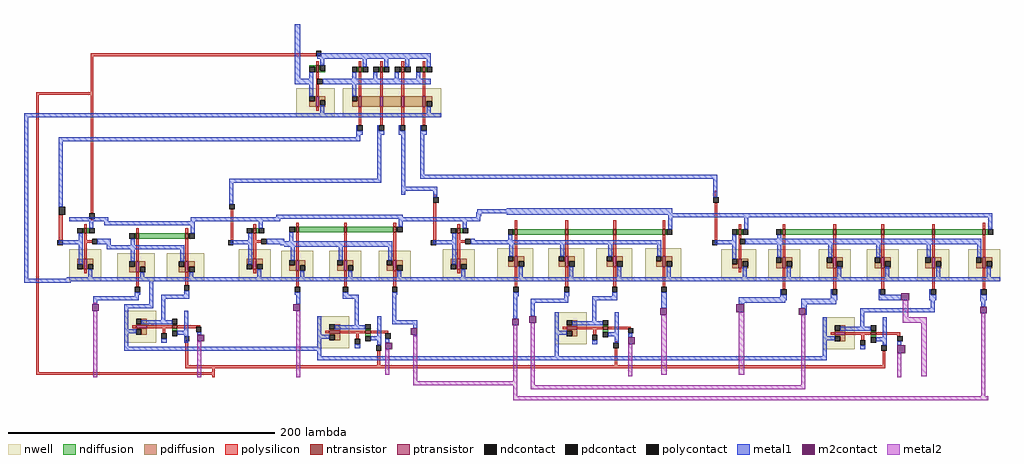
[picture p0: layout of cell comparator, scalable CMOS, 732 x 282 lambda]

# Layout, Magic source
magic
tech scmos
<< nwell >>
rect -181 -77 -157 -53
rect -3 -74 21 -50
rect 198 -78 222 -54
<< ntransistor >>
rect 33 -63 37 -61
rect -145 -66 -141 -64
rect 234 -67 238 -65
<< ptransistor >>
rect 6 -63 14 -61
rect -172 -66 -164 -64
rect 207 -67 215 -65
<< ndiffusion >>
rect 33 -61 37 -60
rect -145 -64 -141 -63
rect -145 -68 -141 -66
rect 33 -65 37 -63
rect 234 -65 238 -64
rect 234 -69 238 -67
<< pdiffusion >>
rect -168 -63 -164 -59
rect -172 -64 -164 -63
rect 10 -60 14 -56
rect 6 -61 14 -60
rect 6 -64 14 -63
rect -172 -67 -164 -66
rect -168 -71 -164 -67
rect 10 -68 14 -64
rect 211 -64 215 -60
rect 207 -65 215 -64
rect 207 -68 215 -67
rect 211 -72 215 -68
<< ndcontact >>
rect -145 -63 -141 -59
rect 33 -60 37 -56
rect -145 -72 -141 -68
rect 33 -69 37 -65
rect 234 -64 238 -60
rect 234 -73 238 -69
<< pdcontact >>
rect -172 -63 -168 -59
rect 6 -60 10 -56
rect -172 -71 -168 -67
rect 6 -68 10 -64
rect 207 -64 211 -60
rect 207 -72 211 -68
<< polysilicon >>
rect -351 142 -182 144
rect -351 115 -349 142
rect -392 113 -349 115
rect -392 -95 -390 113
rect -351 24 -349 113
rect -94 36 -92 38
rect 117 36 119 41
rect -375 4 -372 23
rect -351 19 -349 20
rect -246 4 -244 27
rect -94 4 -92 32
rect 117 4 119 32
rect -283 -61 -269 -60
rect -283 -62 -272 -61
rect 3 -63 6 -61
rect 14 -63 33 -61
rect 37 -62 54 -61
rect 37 -63 52 -62
rect -175 -66 -172 -64
rect -164 -66 -145 -64
rect -141 -66 -128 -64
rect -152 -70 -150 -66
rect -280 -90 -278 -72
rect 26 -67 28 -63
rect 204 -67 207 -65
rect 215 -67 234 -65
rect 238 -67 256 -65
rect 227 -71 229 -67
rect 42 -73 44 -72
rect -136 -75 -134 -74
rect 254 -68 256 -67
rect -136 -90 -134 -79
rect 42 -90 44 -77
rect 243 -90 245 -79
rect -280 -92 245 -90
rect -260 -95 -258 -92
rect -392 -97 -258 -95
rect -260 -99 -258 -97
<< polycontact >>
rect -182 142 -178 146
rect -375 23 -370 29
rect -94 32 -90 36
rect 116 32 120 36
rect -247 27 -243 31
rect -352 20 -348 24
rect -376 0 -372 4
rect -248 0 -244 4
rect -96 0 -92 4
rect 115 0 119 4
rect -272 -65 -268 -61
rect -281 -72 -277 -68
rect -153 -74 -149 -70
rect -130 -70 -126 -66
rect 25 -71 29 -67
rect 52 -66 56 -62
rect -137 -79 -133 -75
rect 41 -77 45 -73
rect 226 -75 230 -71
rect 254 -72 258 -68
rect 242 -79 246 -75
<< metal1 >>
rect -198 121 -194 166
rect -401 96 -197 99
rect -401 -25 -398 96
rect -152 81 -149 84
rect -375 78 -149 81
rect -375 29 -372 78
rect -136 50 -133 83
rect -247 47 -133 50
rect -247 31 -244 47
rect -118 44 -115 84
rect -104 53 -101 86
rect -104 50 119 53
rect -118 41 -91 44
rect -118 38 -115 41
rect -94 36 -91 41
rect 116 36 119 50
rect 84 21 131 24
rect -276 18 -239 21
rect -119 18 -86 21
rect -369 -25 -367 -24
rect -401 -28 -366 -25
rect -307 -26 -304 -25
rect -309 -27 -304 -26
rect -268 -27 -237 -24
rect -112 -27 -86 -24
rect 90 -27 123 -24
rect -318 -38 -315 -35
rect -349 -41 -315 -38
rect -349 -44 -346 -41
rect -307 -44 -304 -27
rect -326 -47 -304 -44
rect -298 -40 -277 -37
rect -326 -51 -323 -47
rect -298 -52 -295 -40
rect -197 -44 -194 -35
rect -125 -37 -121 -35
rect -162 -40 -150 -37
rect -271 -67 -268 -65
rect -181 -67 -178 -53
rect -153 -60 -150 -40
rect -168 -63 -145 -60
rect -181 -70 -172 -67
rect -326 -76 -323 -73
rect -181 -76 -178 -70
rect -136 -68 -133 -53
rect -125 -56 -122 -37
rect -34 -55 -31 -36
rect 4 -40 7 -36
rect -21 -43 7 -40
rect 25 -41 44 -38
rect -21 -53 -18 -43
rect -125 -59 -106 -56
rect -109 -62 -106 -59
rect -326 -79 -178 -76
rect -141 -71 -133 -68
rect -153 -77 -149 -74
rect -136 -75 -133 -71
rect -109 -68 -106 -67
rect -3 -64 0 -50
rect 25 -57 28 -41
rect 77 -47 81 -37
rect 135 -43 170 -39
rect 135 -44 139 -43
rect 10 -60 33 -57
rect -3 -67 6 -64
rect -130 -73 -127 -70
rect -181 -83 -178 -79
rect -3 -83 0 -67
rect 42 -65 45 -50
rect 182 -44 208 -40
rect 241 -41 257 -37
rect 182 -47 186 -44
rect 279 -47 282 -40
rect 316 -42 320 -38
rect 317 -46 320 -42
rect 185 -52 186 -47
rect 226 -50 282 -47
rect 37 -68 45 -65
rect 25 -74 29 -71
rect 42 -73 45 -68
rect 52 -69 55 -66
rect 198 -68 201 -54
rect 226 -61 229 -50
rect 211 -64 234 -61
rect 198 -71 207 -68
rect 198 -83 201 -71
rect 243 -69 246 -54
rect 238 -72 246 -69
rect 243 -75 246 -72
rect 226 -78 230 -75
rect 254 -75 257 -72
rect -181 -86 201 -83
<< m2contact >>
rect -350 -49 -345 -44
rect -199 -49 -194 -44
rect -271 -72 -266 -67
rect -35 -60 -30 -55
rect -22 -58 -17 -53
rect -111 -67 -106 -62
rect -130 -78 -125 -73
rect 76 -52 81 -47
rect 133 -50 139 -44
rect 257 -41 263 -36
rect 180 -52 185 -47
rect 316 -51 321 -46
rect 52 -74 57 -69
rect 254 -81 260 -75
<< metal2 >>
rect -349 -44 -346 -43
rect -349 -99 -346 -49
rect -271 -99 -268 -72
rect -197 -99 -194 -49
rect -130 -97 -127 -78
rect -109 -102 -106 -67
rect -34 -102 -31 -60
rect -109 -105 -31 -102
rect -34 -113 -31 -105
rect -21 -105 -18 -58
rect 52 -98 55 -74
rect 77 -97 81 -52
rect 135 -97 139 -50
rect 182 -105 185 -52
rect 258 -54 262 -41
rect 258 -58 276 -54
rect 254 -99 257 -81
rect 272 -98 276 -58
rect -21 -108 185 -105
rect 317 -113 320 -51
rect -34 -116 322 -113
use and5  and5_0
transform -1 0 319 0 -1 -17
box -12 -41 202 24
use and4  and4_0
transform -1 0 52 0 -1 -4
box -40 -32 146 34
use and3  and3_0
transform -1 0 -143 0 -1 -12
box -32 -35 103 25
use and2  and2_0
transform -1 0 -302 0 -1 -10
box -36 -31 73 27
use not  not_0
transform 0 -1 -311 1 0 -61
box -12 -33 12 15
use or4  or4_0
transform -1 0 -114 0 -1 124
box -26 -20 83 41
<< end >>

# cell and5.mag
magic
tech scmos
<< nwell >>
rect -12 -14 12 10
rect 26 -14 50 10
rect 64 -14 88 10
rect 100 -14 124 10
rect 138 -14 162 10
rect 171 -14 197 10
<< ntransistor >>
rect -1 -29 1 -25
rect 37 -29 39 -25
rect 75 -29 77 -25
rect 111 -29 113 -25
rect 149 -29 151 -25
rect 182 -29 184 -25
<< ptransistor >>
rect -1 -8 1 0
rect 37 -8 39 0
rect 75 -8 77 0
rect 111 -8 113 0
rect 149 -8 151 0
rect 182 -7 184 0
<< ndiffusion >>
rect -3 -29 -1 -25
rect 1 -29 37 -25
rect 39 -29 75 -25
rect 77 -29 111 -25
rect 113 -29 149 -25
rect 151 -29 152 -25
rect 181 -29 182 -25
rect 184 -29 185 -25
<< pdiffusion >>
rect -6 -1 -1 0
rect -2 -5 -1 -1
rect -6 -8 -1 -5
rect 1 -4 6 0
rect 1 -8 2 -4
rect 32 -1 37 0
rect 36 -5 37 -1
rect 32 -8 37 -5
rect 39 -4 44 0
rect 39 -8 40 -4
rect 70 -1 75 0
rect 74 -5 75 -1
rect 70 -8 75 -5
rect 77 -4 82 0
rect 77 -8 78 -4
rect 106 -1 111 0
rect 110 -5 111 -1
rect 106 -8 111 -5
rect 113 -4 118 0
rect 113 -8 114 -4
rect 144 -1 149 0
rect 148 -5 149 -1
rect 144 -8 149 -5
rect 151 -4 156 0
rect 151 -8 152 -4
rect 177 -1 182 0
rect 181 -5 182 -1
rect 177 -7 182 -5
rect 184 -3 189 0
rect 184 -7 185 -3
<< ndcontact >>
rect -7 -29 -3 -25
rect 152 -29 156 -25
rect 177 -29 181 -25
rect 185 -29 189 -25
<< pdcontact >>
rect -6 -5 -2 -1
rect 2 -8 6 -4
rect 32 -5 36 -1
rect 40 -8 44 -4
rect 70 -5 74 -1
rect 78 -8 82 -4
rect 106 -5 110 -1
rect 114 -8 118 -4
rect 144 -5 148 -1
rect 152 -8 156 -4
rect 177 -5 181 -1
rect 185 -7 189 -3
<< polysilicon >>
rect -1 0 1 16
rect 37 0 39 16
rect 75 0 77 16
rect 111 0 113 16
rect 149 0 151 16
rect 182 0 184 3
rect -1 -25 1 -8
rect 37 -25 39 -8
rect 75 -25 77 -8
rect 111 -25 113 -8
rect 149 -25 151 -8
rect 182 -18 184 -7
rect 183 -22 184 -18
rect 182 -25 184 -22
rect -1 -34 1 -29
rect 37 -33 39 -29
rect 75 -33 77 -29
rect 111 -33 113 -29
rect 149 -33 151 -29
rect 182 -33 184 -29
<< polycontact >>
rect -2 16 2 20
rect 36 16 40 20
rect 74 16 78 20
rect 110 16 114 20
rect 148 16 152 20
rect 179 -22 183 -18
<< metal1 >>
rect -2 20 3 24
rect 2 16 3 20
rect 36 20 41 24
rect 40 16 41 20
rect 74 20 79 24
rect 78 16 79 20
rect 110 20 115 24
rect 114 16 115 20
rect 148 20 153 24
rect 152 16 153 20
rect -12 7 197 10
rect -5 -1 -2 7
rect 33 -1 36 7
rect 71 -1 74 7
rect 107 -1 110 7
rect 145 -1 148 7
rect 178 -1 181 7
rect 2 -18 5 -8
rect 40 -18 43 -8
rect 78 -18 81 -8
rect 114 -18 117 -8
rect 152 -18 155 -8
rect 186 -18 189 -7
rect 2 -22 179 -18
rect 186 -21 202 -18
rect 152 -25 155 -22
rect 186 -25 189 -21
rect -6 -38 -3 -29
rect 177 -38 180 -29
rect -6 -41 189 -38
<< end >>

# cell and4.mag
magic
tech scmos
<< nwell >>
rect -40 -2 -13 23
rect -3 -2 24 23
rect 33 -2 60 23
rect 71 -2 98 23
<< ntransistor >>
rect -28 -16 -26 -12
rect 9 -16 11 -12
rect 45 -16 47 -12
rect 83 -16 85 -12
<< ptransistor >>
rect -28 4 -26 12
rect 9 4 11 12
rect 45 4 47 12
rect 83 4 85 12
<< ndiffusion >>
rect -29 -16 -28 -12
rect -26 -16 9 -12
rect 11 -16 45 -12
rect 47 -16 83 -12
rect 85 -16 86 -12
<< pdiffusion >>
rect -29 8 -28 12
rect -33 4 -28 8
rect -26 8 -21 12
rect -26 4 -25 8
rect 8 8 9 12
rect 4 4 9 8
rect 11 8 16 12
rect 11 4 12 8
rect 44 8 45 12
rect 40 4 45 8
rect 47 8 52 12
rect 47 4 48 8
rect 82 8 83 12
rect 78 4 83 8
rect 85 8 90 12
rect 85 4 86 8
<< ndcontact >>
rect -33 -16 -29 -12
rect 86 -16 90 -12
<< pdcontact >>
rect -33 8 -29 12
rect -25 4 -21 8
rect 4 8 8 12
rect 12 4 16 8
rect 40 8 44 12
rect 48 4 52 8
rect 78 8 82 12
rect 86 4 90 8
<< polysilicon >>
rect -28 12 -26 27
rect 9 12 11 27
rect 45 12 47 27
rect 83 12 85 27
rect -28 -12 -26 4
rect 9 -12 11 4
rect 45 -12 47 4
rect 83 -12 85 4
rect -28 -23 -26 -16
rect 9 -23 11 -16
rect 45 -23 47 -16
rect 83 -23 85 -16
<< polycontact >>
rect -29 27 -25 31
rect 8 27 12 31
rect 44 27 48 31
rect 82 27 86 31
<< metal1 >>
rect -29 31 -25 34
rect 8 31 12 34
rect 44 31 48 34
rect 82 31 86 34
rect -40 20 117 23
rect -32 12 -29 20
rect 5 12 8 20
rect 41 12 44 20
rect 79 12 82 20
rect -25 -5 -22 4
rect 12 -5 15 4
rect 48 -5 51 4
rect 86 -5 89 4
rect -25 -8 116 -5
rect 138 -8 146 -5
rect 87 -12 90 -8
rect -33 -27 -30 -16
rect 111 -25 118 -22
rect 111 -26 114 -25
rect -33 -28 91 -27
rect 110 -28 114 -26
rect -33 -29 114 -28
rect -33 -31 113 -29
rect -33 -32 91 -31
use not  not_0
transform 1 0 127 0 1 8
box -12 -33 12 15
<< end >>

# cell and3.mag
magic
tech scmos
<< nwell >>
rect -32 -8 -8 15
rect 5 -8 29 15
rect 41 -8 65 15
<< ntransistor >>
rect -21 -26 -19 -22
rect 16 -26 18 -22
rect 52 -26 54 -22
<< ptransistor >>
rect -21 -1 -19 7
rect 16 -1 18 7
rect 52 -1 54 7
<< ndiffusion >>
rect -22 -26 -21 -22
rect -19 -26 16 -22
rect 18 -26 52 -22
rect 54 -26 55 -22
<< pdiffusion >>
rect -22 3 -21 7
rect -26 -1 -21 3
rect -19 3 -14 7
rect -19 -1 -18 3
rect 15 3 16 7
rect 11 -1 16 3
rect 18 3 23 7
rect 18 -1 19 3
rect 51 3 52 7
rect 47 -1 52 3
rect 54 3 59 7
rect 54 -1 55 3
<< ndcontact >>
rect -26 -26 -22 -22
rect 55 -26 59 -22
<< pdcontact >>
rect -26 3 -22 7
rect -18 -1 -14 3
rect 11 3 15 7
rect 19 -1 23 3
rect 47 3 51 7
rect 55 -1 59 3
<< polysilicon >>
rect -21 7 -19 19
rect 16 7 18 19
rect 52 7 54 19
rect -21 -22 -19 -1
rect 16 -22 18 -1
rect 52 -22 54 -1
rect -21 -29 -19 -26
rect 16 -29 18 -26
rect 52 -29 54 -26
<< polycontact >>
rect -22 19 -18 23
rect 15 19 19 23
rect 51 19 55 23
<< metal1 >>
rect -22 23 -18 25
rect 15 23 19 25
rect 51 23 55 25
rect -32 12 73 15
rect -25 7 -22 12
rect 12 7 15 12
rect 48 7 51 12
rect -18 -11 -15 -1
rect 19 -11 22 -1
rect 55 -11 58 -1
rect -18 -12 63 -11
rect -18 -13 66 -12
rect -18 -15 73 -13
rect 56 -22 59 -15
rect 63 -17 73 -15
rect 97 -16 103 -13
rect -26 -32 -23 -26
rect 66 -32 74 -30
rect -26 -33 74 -32
rect -26 -35 69 -33
use not  not_0
transform 1 0 85 0 1 0
box -12 -33 12 15
<< end >>

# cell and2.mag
magic
tech scmos
<< nwell >>
rect -36 -4 -8 17
rect 1 -4 29 17
<< ntransistor >>
rect -24 -19 -22 -15
rect 13 -19 15 -15
<< ptransistor >>
rect -24 2 -22 10
rect 13 2 15 10
<< ndiffusion >>
rect -25 -19 -24 -15
rect -22 -19 13 -15
rect 15 -19 16 -15
<< pdiffusion >>
rect -25 6 -24 10
rect -29 2 -24 6
rect -22 6 -17 10
rect -22 2 -21 6
rect 12 6 13 10
rect 8 2 13 6
rect 15 6 20 10
rect 15 2 16 6
<< ndcontact >>
rect -29 -19 -25 -15
rect 16 -19 20 -15
<< pdcontact >>
rect -29 6 -25 10
rect -21 2 -17 6
rect 8 6 12 10
rect 16 2 20 6
<< polysilicon >>
rect -24 10 -22 20
rect 13 10 15 21
rect -24 -15 -22 2
rect 13 -15 15 2
rect -24 -23 -22 -19
rect 13 -23 15 -19
<< polycontact >>
rect -25 20 -21 24
rect 12 21 16 25
<< metal1 >>
rect -25 24 -21 27
rect 12 25 16 27
rect -36 14 41 17
rect -28 10 -25 14
rect 9 10 12 14
rect -21 -7 -18 2
rect 16 -7 19 2
rect -21 -10 37 -7
rect 16 -15 19 -10
rect 34 -11 37 -10
rect 34 -15 41 -11
rect 65 -14 73 -11
rect -29 -25 -26 -19
rect -29 -28 39 -25
rect 36 -31 43 -28
use not  not_0
transform 1 0 53 0 1 2
box -12 -33 12 15
<< end >>

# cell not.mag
magic
tech scmos
<< nwell >>
rect -12 -9 12 15
<< ntransistor >>
rect -1 -25 1 -21
<< ptransistor >>
rect -1 -2 1 6
<< ndiffusion >>
rect -3 -25 -1 -21
rect 1 -25 2 -21
<< pdiffusion >>
rect -2 2 -1 6
rect -6 -2 -1 2
rect 1 2 2 6
rect 1 -2 6 2
<< ndcontact >>
rect -7 -25 -3 -21
rect 2 -25 6 -21
<< pdcontact >>
rect -6 2 -2 6
rect 2 2 6 6
<< polysilicon >>
rect -1 6 1 9
rect -1 -14 1 -2
rect -5 -16 1 -14
rect -1 -21 1 -16
rect -1 -28 1 -25
<< polycontact >>
rect -9 -17 -5 -13
<< metal1 >>
rect -12 12 12 15
rect -5 6 -2 12
rect 2 -13 5 2
rect -12 -17 -9 -13
rect 2 -16 12 -13
rect 2 -21 5 -16
rect -6 -30 -3 -25
rect -12 -33 12 -30
<< end >>

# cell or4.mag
magic
tech scmos
<< nwell >>
rect -26 6 48 28
rect 54 6 83 28
<< ntransistor >>
rect -14 -10 -12 -6
rect 2 -10 4 -6
rect 18 -10 20 -6
rect 34 -10 36 -6
rect 66 -11 68 -6
<< ptransistor >>
rect -14 12 -12 20
rect 2 12 4 20
rect 18 12 20 20
rect 34 12 36 20
rect 66 12 68 20
<< ndiffusion >>
rect -15 -10 -14 -6
rect -12 -10 -11 -6
rect 1 -10 2 -6
rect 4 -10 5 -6
rect 17 -10 18 -6
rect 20 -10 21 -6
rect 33 -10 34 -6
rect 36 -10 37 -6
rect 61 -7 66 -6
rect 65 -11 66 -7
rect 68 -10 69 -6
rect 68 -11 73 -10
<< pdiffusion >>
rect -15 16 -14 20
rect -19 12 -14 16
rect -12 12 2 20
rect 4 12 18 20
rect 20 12 34 20
rect 36 16 41 20
rect 36 12 37 16
rect 61 19 66 20
rect 65 15 66 19
rect 61 12 66 15
rect 68 16 73 20
rect 68 12 69 16
<< ndcontact >>
rect -19 -10 -15 -6
rect -11 -10 -7 -6
rect -3 -10 1 -6
rect 5 -10 9 -6
rect 13 -10 17 -6
rect 21 -10 25 -6
rect 29 -10 33 -6
rect 37 -10 41 -6
rect 61 -11 65 -7
rect 69 -10 73 -6
<< pdcontact >>
rect -19 16 -15 20
rect 37 12 41 16
rect 61 15 65 19
rect 69 12 73 16
<< polysilicon >>
rect -14 20 -12 34
rect 2 20 4 34
rect 18 20 20 34
rect 34 20 36 34
rect 66 20 68 23
rect -14 -6 -12 12
rect 2 -6 4 12
rect 18 -6 20 12
rect 34 -6 36 12
rect 66 3 68 12
rect 67 -1 68 3
rect 66 -6 68 -1
rect -14 -14 -12 -10
rect 2 -14 4 -10
rect 18 -14 20 -10
rect 34 -14 36 -10
rect 66 -14 68 -11
<< polycontact >>
rect -15 34 -11 38
rect 1 34 5 38
rect 17 34 21 38
rect 33 34 37 38
rect 63 -1 67 3
<< metal1 >>
rect -15 38 -10 41
rect -11 34 -10 38
rect 1 38 6 41
rect 5 34 6 38
rect 17 38 22 41
rect 21 34 22 38
rect 33 38 38 41
rect 37 34 38 38
rect -26 25 83 28
rect -18 20 -15 25
rect 62 19 65 25
rect 38 3 41 12
rect 70 3 73 12
rect -18 -1 63 3
rect 70 -1 81 3
rect -10 -6 -7 -1
rect 6 -6 9 -1
rect 22 -6 25 -1
rect 38 -6 41 -1
rect 70 -6 73 -1
rect -18 -16 -15 -10
rect -2 -16 1 -10
rect 14 -16 17 -10
rect 30 -16 33 -10
rect 62 -16 65 -11
rect -18 -20 67 -16
<< end >>
